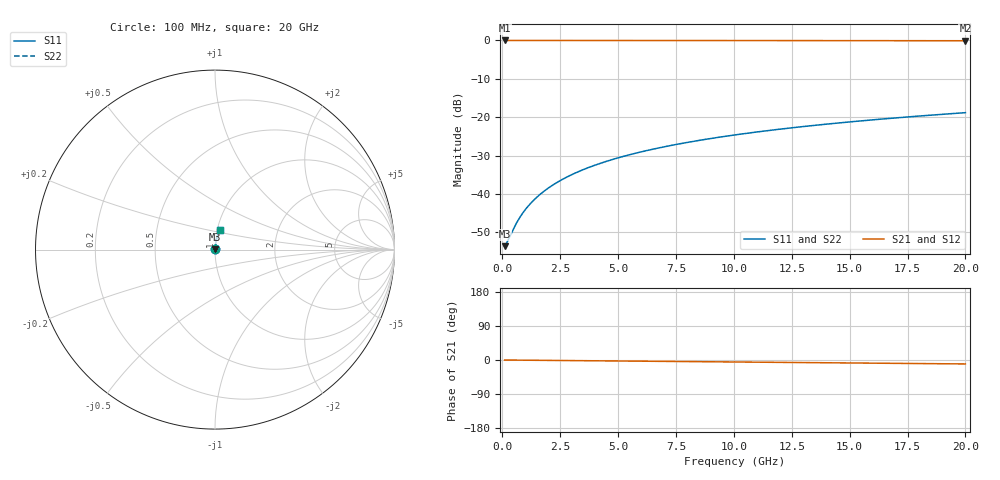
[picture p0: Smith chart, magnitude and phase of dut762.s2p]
! Touchstone file exported from HFSS 2026.1.0
!  File:  C:/ffzhzh/LocalFiles/Ansys_Project_Files/temp_train_TSV_762_1783183275_18472.aedt
!  Generated:  12:44:02 AM Jul  5, 2026
!  Design:  TSV
!  Project:  temp_train_TSV_762_1783183275_18472
! Variables:
!  h_bsmrdl = 2um
!  h_ox = 20um
!  h_rdl = 5um
!  h_sub = 81.48um
!  h_tmrdl = 5um
!  h_tsv = 81.48um
!  h_via = 3um
!  l_bsmrdl = 300um
!  l_sub = 404.32um
!  l_tmrdl = 200um
!  m_sub = 200um
!  pitch = 32.87um
!  r_tsv = 2.16um
!  s_tmrdl = 10um
!  w_bsmrdl = 18um
!  w_sub = 500um
!  w_tmrdl = 12um
!  x_tsv_center1 = 206um
!  x_tsv_center2 = 524um
!  x_tsv_center3 = 736um
!  x_tsv_center4 = 1054um
!  x_tsv_center5 = 1266um
!  x_tsv_center6 = 1584um
# GHz S MA R 50.000000
! Terminal data exported
! Port[1] = TSV1_1_T1
! Port[2] = TSV1_1_T2
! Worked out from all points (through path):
!   200 points, 100 MHz to 20 GHz, reference 50 ohm
!   highest |S21| = -0.02 dB at 100 MHz (marker M1); lowest = -0.1 dB at 20 GHz (marker M2)
!   group delay of S21, straight-line fit = 1.45 ps
!   lowest |S11| = -53.6 dB at 100 MHz (marker M3), VSWR 1.00, Z = 50.2 + j0.06 ohm
!   |S11| at or under -10 dB: start of sweep to end of sweep
!   |S22| runs from -53.6 to -18.8 dB; largest |S21 - S12| = 4.9e-15
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0.1  0.002091 16.6  0.998 -0.1  0.998 -0.1  0.002091 16.6
! Gamma 0 0 0 0
! Port Impedance 50 0 50 0
0.2  0.002337 30.7  0.998 -0.1  0.998 -0.1  0.002337 30.7
0.5  0.003606 55.6  0.998 -0.3  0.998 -0.3  0.003606 55.6
0.6  0.004113 60.1  0.998 -0.3  0.998 -0.3  0.004113 60.1
0.8  0.00518 66.3  0.9979 -0.4  0.9979 -0.4  0.00518 66.3
0.9  0.005729 68.6  0.9979 -0.5  0.9979 -0.5  0.005729 68.6
1.1  0.006847 71.9  0.9979 -0.6  0.9979 -0.6  0.006847 71.9
1.4  0.008554 75.2  0.9979 -0.7  0.9979 -0.7  0.008554 75.2
1.8  0.01086 77.9  0.9978 -1.0  0.9978 -1.0  0.01086 77.9
2.3  0.01376 79.9  0.9978 -1.2  0.9978 -1.2  0.01376 79.9
2.9  0.01727 81.3  0.9977 -1.5  0.9977 -1.5  0.01727 81.3
3.5  0.02078 82.0  0.9976 -1.9  0.9976 -1.9  0.02078 82.0
4.2  0.02487 82.5  0.9974 -2.2  0.9974 -2.2  0.02487 82.5
5  0.02955 82.8  0.9972 -2.6  0.9972 -2.6  0.02955 82.8
5.9  0.0348 82.8  0.9969 -3.1  0.9969 -3.1  0.0348 82.8
6.8  0.04003 82.7  0.9966 -3.6  0.9966 -3.6  0.04003 82.7
8.3  0.04871 82.4  0.9961 -4.4  0.9961 -4.4  0.04871 82.4
10.1  0.05906 81.7  0.9952 -5.3  0.9952 -5.3  0.05906 81.7
11.7  0.06818 81.1  0.9944 -6.1  0.9944 -6.1  0.06818 81.1
13.4  0.0778 80.4  0.9934 -7.0  0.9934 -7.0  0.0778 80.4
16.7  0.09627 78.9  0.9913 -8.7  0.9913 -8.7  0.09627 78.9
20  0.1145 77.3  0.9889 -10.4  0.9889 -10.4  0.1145 77.3
